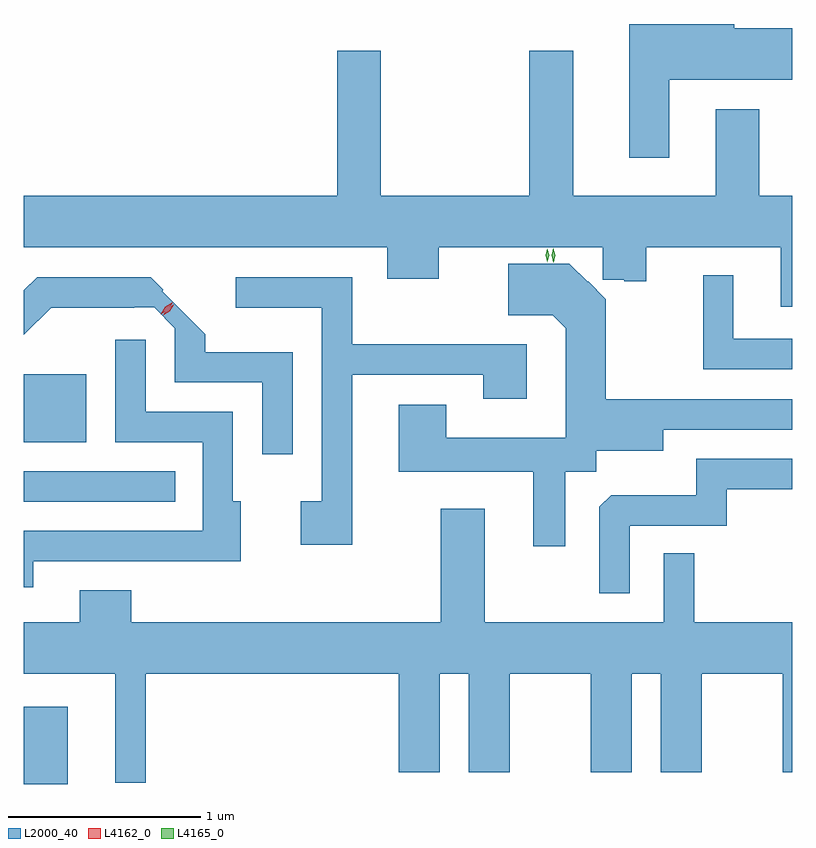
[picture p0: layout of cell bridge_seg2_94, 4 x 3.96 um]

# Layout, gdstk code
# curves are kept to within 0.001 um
import gdstk
lib = gdstk.Library(unit=1e-6, precision=1e-09)
def R(c, l, rs):  # rectangles x0, y0, x1, y1
    for r in rs: c.add(gdstk.rectangle(r[:2], r[2:], *l))
def P(c, l, *ps):  # polygons
    for p in ps: c.add(gdstk.Polygon(p, *l))
L2000_40 = (2000, 40)
L4162_0 = (4162, 0)
L4165_0 = (4165, 0)

bridge_seg2_94 = lib.new_cell('bridge_seg2_94')
R(bridge_seg2_94, L2000_40, [(1246.73,992.241,1246.959,992.644), (1246.73,993.711,1247.518,993.869), (1246.73,994.021,1247.054,994.374)])
P(bridge_seg2_94, L2000_40, [(1250.089,995.906),(1250.73,995.906),(1250.73,996.174),(1250.429,996.174),(1250.429,996.197),(1249.881,996.197),(1249.881,995.501),(1250.089,995.501)],
  [(1250.73,995.304),(1250.559,995.304),(1250.559,995.754),(1250.331,995.754),(1250.331,995.304),(1249.589,995.304),(1249.589,996.059),(1249.361,996.059),(1249.361,995.304),(1248.589,995.304),(1248.589,996.059),(1248.361,996.059),(1248.361,995.304),(1246.73,995.304),(1246.73,995.036),(1248.621,995.036),(1248.621,994.871),(1248.889,994.871),(1248.889,995.036),(1249.745,995.036),(1249.745,994.865),(1249.855,994.865),(1249.855,994.858),(1249.969,994.858),(1249.969,995.036),(1250.671,995.036),(1250.671,994.726),(1250.73,994.726)],
  [(1249.549,993.866),(1249.709,993.866),(1249.709,993.976),(1250.059,993.976),(1250.059,994.086),(1250.73,994.086),(1250.73,994.244),(1249.759,994.244),(1249.759,994.765),(1249.667,994.858),(1249.665,994.856),(1249.57,994.95),(1249.251,994.95),(1249.251,994.681),(1249.484,994.681),(1249.551,994.614),(1249.551,994.044),(1248.929,994.044),(1248.929,994.214),(1248.681,994.214),(1248.681,993.866),(1249.381,993.866),(1249.381,993.478),(1249.549,993.478)],
  [(1250.73,994.559),(1250.424,994.559),(1250.424,994.888),(1250.266,994.888),(1250.266,994.401),(1250.73,994.401)],
  [(1248.439,994.371),(1249.121,994.371),(1249.121,994.246),(1249.349,994.246),(1249.349,994.529),(1248.439,994.529),(1248.439,994.879),(1247.833,994.879),(1247.833,994.721),(1248.281,994.721),(1248.281,993.714),(1248.171,993.714),(1248.171,993.486),(1248.439,993.486)],
  [(1248.129,994.489),(1247.674,994.489),(1247.674,994.581),(1247.45,994.807),(1247.456,994.814),(1247.391,994.879),(1246.799,994.879),(1246.73,994.81),(1246.73,994.579),(1246.872,994.721),(1247.408,994.722),(1247.517,994.613),(1247.516,994.331),(1247.971,994.331),(1247.971,993.958),(1248.129,993.958)],
  [(1246.779,993.401),(1247.859,993.401),(1247.859,993.714),(1247.819,993.714),(1247.819,994.179),(1247.364,994.179),(1247.364,994.553),(1247.206,994.553),(1247.206,994.021),(1247.661,994.021),(1247.661,993.559),(1246.73,993.559),(1246.73,993.266),(1246.779,993.266)],
  [(1249.884,993.586),(1250.389,993.586),(1250.389,993.776),(1250.73,993.776),(1250.73,993.934),(1250.231,993.934),(1250.231,993.744),(1249.787,993.744),(1249.726,993.684),(1249.726,993.233),(1249.884,993.233)],
  [(1247.364,992.816),(1248.681,992.816),(1248.681,992.301),(1248.894,992.301),(1248.894,992.816),(1249.046,992.816),(1249.046,992.301),(1249.259,992.301),(1249.259,992.816),(1249.681,992.816),(1249.681,992.301),(1249.894,992.301),(1249.894,992.816),(1250.046,992.816),(1250.046,992.301),(1250.259,992.301),(1250.259,992.816),(1250.681,992.816),(1250.681,992.301),(1250.73,992.301),(1250.73,993.084),(1250.219,993.084),(1250.219,993.443),(1250.061,993.443),(1250.061,993.084),(1249.129,993.084),(1249.129,993.674),(1248.901,993.674),(1248.901,993.084),(1247.289,993.084),(1247.289,993.249),(1247.021,993.249),(1247.021,993.084),(1246.73,993.084),(1246.73,992.816),(1247.206,992.816),(1247.206,992.248),(1247.364,992.248)])
P(bridge_seg2_94, L4162_0, [(1247.456,994.681),(1247.456,994.682),(1247.476,994.715),(1247.509,994.736),(1247.51,994.736),(1247.51,994.735),(1247.49,994.701),(1247.456,994.681)],
  [(1247.444,994.685),(1247.444,994.686),(1247.467,994.724),(1247.505,994.749),(1247.505,994.749),(1247.505,994.748),(1247.482,994.71),(1247.444,994.685)])
P(bridge_seg2_94, L4165_0, [(1249.487,994.956),(1249.487,994.957),(1249.477,994.994),(1249.486,995.03),(1249.487,995.031),(1249.487,995.03),(1249.497,994.994),(1249.488,994.957)],
  [(1249.456,994.958),(1249.455,994.959),(1249.446,994.993),(1249.455,995.026),(1249.456,995.027),(1249.456,995.026),(1249.465,994.993),(1249.456,994.959)])

lib.write_gds('bridge_seg2_94.gds')
